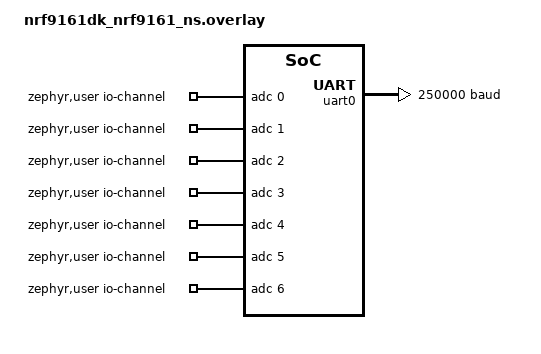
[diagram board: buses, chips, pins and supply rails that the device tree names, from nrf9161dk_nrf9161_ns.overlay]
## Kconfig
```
#
# Copyright (c) 2021 Nordic Semiconductor ASA
#
# SPDX-License-Identifier: LicenseRef-Nordic-5-Clause
#

menu "SMS Sample Settings"

config SMS_SEND_PHONE_NUMBER
	string "00420724909333"
	default ""

endmenu

menu "Zephyr Kernel"
source "Kconfig.zephyr"
endmenu
```

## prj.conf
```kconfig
#
# Copyright (c) 2021 Nordic Semiconductor ASA
#
# SPDX-License-Identifier: LicenseRef-Nordic-5-Clause
#
# General config

# CONFIG_SMS_SEND_PHONE_NUMBER="00420721610079"
CONFIG_SMS_SEND_PHONE_NUMBER="00420724909333"

#CONFIG_SENSOR=y
CONFIG_ADC=y
CONFIG_NRFX_SAADC=y
#CONFIG_NRFX_GPPI=y
#CONFIG_NRFX_TIMER2=y

CONFIG_SMS=y
CONFIG_SMS_SUBSCRIBERS_MAX_CNT=2
CONFIG_SMS_LOG_LEVEL_DBG=n
CONFIG_MAIN_STACK_SIZE=1536

# Networking
CONFIG_NETWORKING=y
CONFIG_NET_SOCKETS=y
CONFIG_NET_SOCKETS_OFFLOAD=y
CONFIG_NRF_MODEM_LIB=y
CONFIG_POSIX_API=y

# LTE link control
CONFIG_LTE_LINK_CONTROL=y

# Debugging
CONFIG_LOG=y
CONFIG_ASSERT=y
CONFIG_ASSERT_VERBOSE=y
```

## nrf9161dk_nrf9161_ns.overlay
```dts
// To get started, press Ctrl+Space to bring up the completion menu and view the available nodes.

// You can also use the buttons in the sidebar to perform actions on nodes.
// Actions currently available include:

// * Enabling / disabling the node
// * Adding the bus to a bus
// * Removing the node
// * Connecting ADC channels

// For more help, browse the DeviceTree documentation at https://docs.zephyrproject.org/latest/guides/dts/index.html
// You can also visit the nRF DeviceTree extension documentation at https://docs.nordicsemi.com/bundle/nrf-connect-vscode/page/guides/ncs_configure_app.html#devicetree-support-in-the-extension

/ {
	zephyr,user {
		io-channels = <&adc 0 &adc 1 &adc 2 &adc 3 &adc 4 &adc 5 &adc 6>;
	};
};


&uart0_default {
	group1 {
		psels = <NRF_PSEL(UART_TX, 0, 27)>;
	};

	group2 {
		psels = <NRF_PSEL(UART_RX, 0, 26)>;
	};
};


&uart0 {
    current-speed = <250000>;
};
```

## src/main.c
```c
/*
 * Copyright (c) 2021 Nordic Semiconductor ASA
 *
 * SPDX-License-Identifier: LicenseRef-Nordic-5-Clause
 */

 #include <stdio.h>
 #include <zephyr/kernel.h>
 #include <string.h>
 #include <modem/sms.h>
 #include <modem/nrf_modem_lib.h>
 #include <modem/lte_lc.h>
 #include <zephyr/drivers/gpio.h>
 #include <zephyr/device.h>
 #include <zephyr/devicetree.h>
 #include <zephyr/drivers/adc.h>
 #include <hal/nrf_saadc.h>
 
 
 
 #define BTN0_NODE DT_ALIAS(sw0)
 #define LED0_NODE DT_ALIAS(led0)
 #define DAQ_TIME_US 40
 
 #define ADC_NODE DT_IO_CHANNELS_CTLR(DT_PATH(zephyr_user))
 
 #define CHANNEL_0 0
 #define CHANNEL_1 1
 #define CHANNEL_2 2
 #define CHANNEL_3 3
 #define CHANNEL_4 4
 
 
 
 static const struct gpio_dt_spec btn0 = GPIO_DT_SPEC_GET(BTN0_NODE, gpios);
 static const struct gpio_dt_spec led0 = GPIO_DT_SPEC_GET(LED0_NODE, gpios);
 
 
 
 
 
 
 static int16_t sample_buffer[4];
 
 static const struct adc_channel_cfg channel_cfg_0 = {
	 .gain             = ADC_GAIN_1_6,
	 .reference        = ADC_REF_INTERNAL,
	 .acquisition_time = ADC_ACQ_TIME(ADC_ACQ_TIME_MICROSECONDS, DAQ_TIME_US),
	 .channel_id       = CHANNEL_0,
	 .input_positive   = NRF_SAADC_INPUT_AIN0
 };
 
 static const struct adc_channel_cfg channel_cfg_1 = {
	 .gain             = ADC_GAIN_1_6,
	 .reference        = ADC_REF_INTERNAL,
	 .acquisition_time = ADC_ACQ_TIME(ADC_ACQ_TIME_MICROSECONDS, DAQ_TIME_US),
	 .channel_id       = CHANNEL_1,
	 .input_positive   = NRF_SAADC_INPUT_AIN1
 };
 
 static const struct adc_channel_cfg channel_cfg_2 = {
	 .gain             = ADC_GAIN_1_6,
	 .reference        = ADC_REF_INTERNAL,
	 .acquisition_time = ADC_ACQ_TIME(ADC_ACQ_TIME_MICROSECONDS, DAQ_TIME_US),
	 .channel_id       = CHANNEL_2,
	 .input_positive   = NRF_SAADC_INPUT_AIN2
 };
 
 static const struct adc_channel_cfg channel_cfg_3 = {
	 .gain             = ADC_GAIN_1_6,
	 .reference        = ADC_REF_INTERNAL,
	 .acquisition_time = ADC_ACQ_TIME(ADC_ACQ_TIME_MICROSECONDS, DAQ_TIME_US),
	 .channel_id       = CHANNEL_3,
	 .input_positive   = NRF_SAADC_INPUT_AIN3
 };
 
 static const struct adc_channel_cfg channel_cfg_4 = {
	 .gain             = ADC_GAIN_1_6,
	 .reference        = ADC_REF_INTERNAL,
	 .acquisition_time = ADC_ACQ_TIME(ADC_ACQ_TIME_MICROSECONDS, DAQ_TIME_US),
	 .channel_id       = CHANNEL_4,
	 .input_positive   = NRF_SAADC_INPUT_AIN4
 };
 
 
 static void sms_callback(struct sms_data *const data, void *context)
 {
	 if (data == NULL) {
		 printk("%s with NULL data\n", __func__);
		 return;
	 }
 
	 if (data->type == SMS_TYPE_DELIVER) {
		 /* When SMS message is received, print information */
		 struct sms_deliver_header *header = &data->header.deliver;
 
		 printk("\nSMS received:\n");
		 printk("\tTime:   %02d-%02d-%02d %02d:%02d:%02d\n", header->time.year,
				header->time.month, header->time.day, header->time.hour, header->time.minute,
				header->time.second);
 
		 printk("\tText:   '%s'\n", data->payload);
		 printk("\tLength: %d\n", data->payload_len);
 
		 if (header->app_port.present) {
			 printk("\tApplication port addressing scheme: dest_port=%d, src_port=%d\n",
					header->app_port.dest_port, header->app_port.src_port);
		 }
		 if (header->concatenated.present) {
			 printk("\tConcatenated short message: ref_number=%d, msg %d/%d\n",
					header->concatenated.ref_number, header->concatenated.seq_number,
					header->concatenated.total_msgs);
		 }
	 } else if (data->type == SMS_TYPE_STATUS_REPORT) {
		 printk("SMS status report received\n");
	 } else {
		 printk("SMS protocol message with unknown type received\n");
	 }
 }
 
 int main(void)
 {
	 int handle = 0;
	 int ret = 0;
 
 
	 const struct device *adc_dev = DEVICE_DT_GET(ADC_NODE);
 
	 printk("\nSAMPLE APP\n");
 
 
 
	 if (!device_is_ready(adc_dev)) {
		 printk("ADC not ready\n");
		 return;
	 }
 
	 //adc_channel_setup(adc_dev, &channel_cfg_0);
	 adc_channel_setup(adc_dev, &channel_cfg_1);
	 adc_channel_setup(adc_dev, &channel_cfg_2);
	 adc_channel_setup(adc_dev, &channel_cfg_3);
	 adc_channel_setup(adc_dev, &channel_cfg_4);
 
 /*
	 //.channels    = BIT(CHANNEL_1) | BIT(CHANNEL_2),
	 struct adc_sequence sequence = {    
		 .channels    = BIT(CHANNEL_3),
		 .buffer      = sample_buffer,
		 .buffer_size = sizeof(sample_buffer),
		 .resolution  = 14,
		 //.oversampling = NRF_SAADC_OVERSAMPLE_16X
	 };
 */
	 struct adc_sequence sequence = {    
		 .channels    =  BIT(CHANNEL_1) | BIT(CHANNEL_2)| BIT(CHANNEL_3)| BIT(CHANNEL_4),
		 .buffer      = sample_buffer,
		 .buffer_size = sizeof(sample_buffer),
		 .resolution  = 14
		 
	 };
 
 
	 while (0) {
		 int ret = adc_read(adc_dev, &sequence);
		 if (ret == 0) {
			 printk("%d,%d,%d,%d\n\r", sample_buffer[0], sample_buffer[1], sample_buffer[2], sample_buffer[3]);
		 } else {
			 printk("ADC read error: %d\n", ret);
		 }
		 k_sleep(K_MSEC(5));
	 }
 
 
 
	 ret = gpio_pin_configure_dt(&btn0, GPIO_INPUT);
	 if (ret < 0) {
		 printk("BTN0 initialization failed, error: %d\n", ret);
		 return 0;
	 }
 
	 ret = gpio_pin_configure_dt(&led0, GPIO_OUTPUT_ACTIVE);
	 if (ret < 0) {
		 printk("LED0 initialization failed, error: %d\n", ret);
		 return 0;
	 } else {
		 gpio_pin_set_dt(&led0,0);
	 }
 
	 printk("led and button done\n");
 
 
 
 
 
 
 
 
 
 
 
	 ret = nrf_modem_lib_init();
	 if (ret) {
		 printk("Modem library initialization failed, error: %d\n", ret);
		 return 0;
	 } else {
		 printk("modem init ok\n");
	 }
	 
 
	 ret = lte_lc_connect();
	 if (ret) {
		 printk("Lte_lc failed to initialize and connect, err %d", ret);
		 return 0;
	 } else {
		 printk("lte connected\n");
	 }
 
	 handle = sms_register_listener(sms_callback, NULL);
	 if (handle) {
		 printk("sms_register_listener returned err: %d\n", handle);
		 return 0;
	 } else {
		 printk("sms listener init init ok\n");
	 }
 
	 printk("SMS sample is ready for receiving messages\n");
 
	 /* Sending is done to the phone number specified in the configuration,
	  * or if it's left empty, an information text is printed.
	  */
 
	 while (1) {
 
		 if (gpio_pin_get_dt(&btn0)) {
			 gpio_pin_set_dt(&led0,1);
			 if (strcmp(CONFIG_SMS_SEND_PHONE_NUMBER, "")) {
				 printk("Sending SMS: number=%s, text=\"SMS sample: testing\"\n",
						CONFIG_SMS_SEND_PHONE_NUMBER);
				 ret = sms_send_text(CONFIG_SMS_SEND_PHONE_NUMBER,
							 "Co na to hrabes curaku?");
				 if (ret) {
					 printk("Sending SMS failed with error: %d\n", ret);
				 }
			 } else {
				 printk("\nSMS sending is skipped but receiving will still work.\n"
						"If you wish to send SMS, please configure "
						"CONFIG_SMS_SEND_PHONE_NUMBER\n");
			 }
			 gpio_pin_set_dt(&led0,0);
			 k_msleep(2000);
		 }
		 
	 }
 
	 /* In our application, we should unregister SMS in some conditions with:
	  *   sms_unregister_listener(handle);
	  * However, this sample will continue to be registered for
	  * received SMS messages and they can be seen in serial port log.
	  */
	 return 0;
 }
 
```
